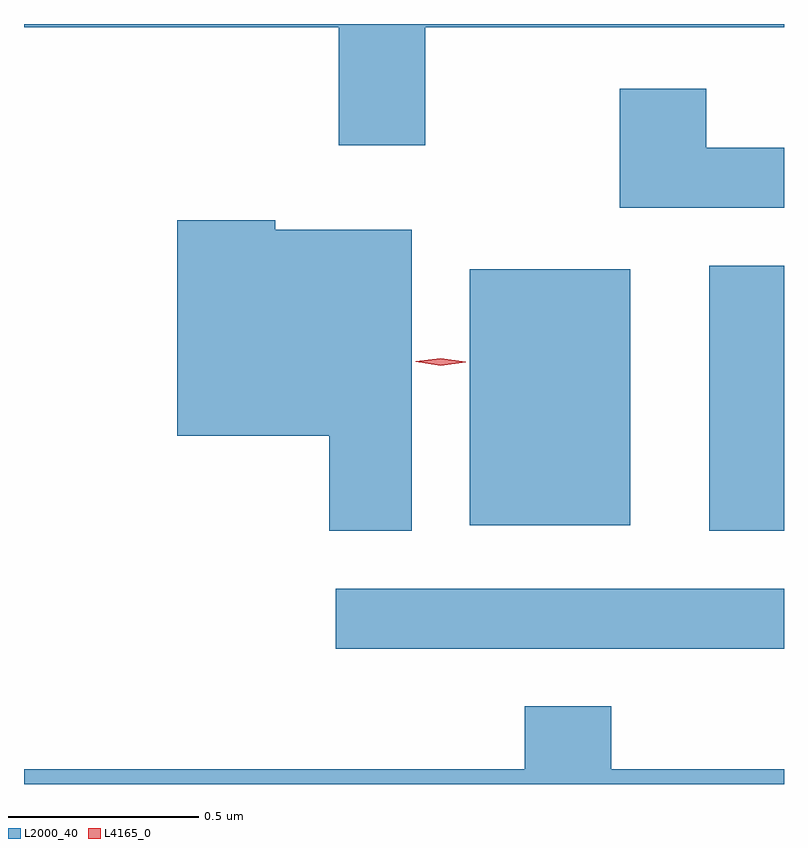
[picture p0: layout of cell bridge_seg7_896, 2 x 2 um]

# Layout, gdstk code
import gdstk
lib = gdstk.Library(unit=1e-6, precision=1e-09)
def R(c, l, rs):  # rectangles x0, y0, x1, y1
    for r in rs: c.add(gdstk.rectangle(r[:2], r[2:], *l))
def P(c, l, *ps):  # polygons
    for p in ps: c.add(gdstk.Polygon(p, *l))
L2000_40 = (2000, 40)
L4165_0 = (4165, 0)

bridge_seg7_896 = lib.new_cell('bridge_seg7_896')
R(bridge_seg7_896, L2000_40, [(381.443,1694.921,382.623,1695.079), (382.426,1695.231,382.623,1695.929), (381.796,1695.246,382.219,1695.919)])
P(bridge_seg7_896, L2000_40, [(381.679,1696.556),(382.623,1696.556),(382.623,1696.565),(380.623,1696.565),(380.623,1696.556),(381.451,1696.556),(381.451,1696.246),(381.679,1696.246)],
  [(382.623,1696.239),(382.419,1696.239),(382.419,1696.394),(382.191,1696.394),(382.191,1696.081),(382.623,1696.081)],
  [(381.644,1696.024),(381.284,1696.024),(381.284,1696.049),(381.026,1696.049),(381.026,1695.481),(381.426,1695.481),(381.426,1695.231),(381.644,1695.231)],
  [(382.623,1694.604),(382.169,1694.604),(382.169,1694.769),(381.941,1694.769),(381.941,1694.604),(380.623,1694.604),(380.623,1694.565),(382.623,1694.565)])
P(bridge_seg7_896, L4165_0, [(381.72,1695.666),(381.654,1695.676),(381.654,1695.677),(381.654,1695.677),(381.72,1695.686),(381.786,1695.676),(381.786,1695.676),(381.786,1695.675)])

lib.write_gds('bridge_seg7_896.gds')
